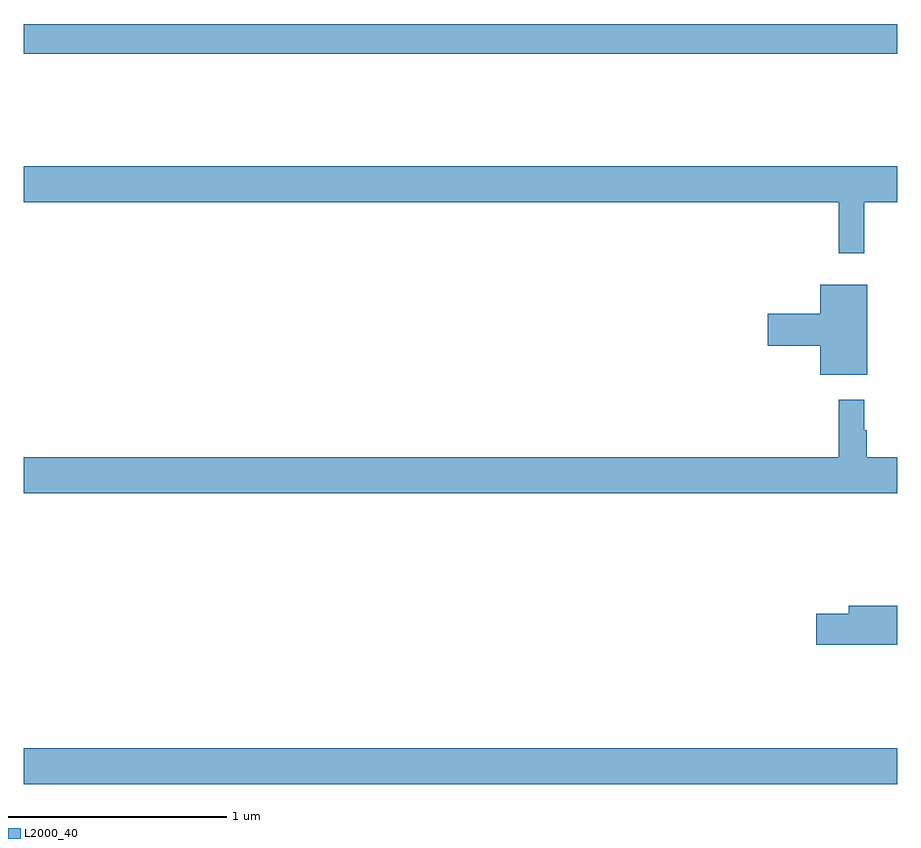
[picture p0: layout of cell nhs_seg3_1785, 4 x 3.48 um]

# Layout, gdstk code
import gdstk
lib = gdstk.Library(unit=1e-6, precision=1e-09)
def R(c, l, rs):  # rectangles x0, y0, x1, y1
    for r in rs: c.add(gdstk.rectangle(r[:2], r[2:], *l))
def P(c, l, *ps):  # polygons
    for p in ps: c.add(gdstk.Polygon(p, *l))
L2000_40 = (2000, 40)

nhs_seg3_1785 = lib.new_cell('nhs_seg3_1785')
R(nhs_seg3_1785, L2000_40, [(203,704.912,207,705.076), (203,708.256,207,708.392)])
P(nhs_seg3_1785, L2000_40, [(206.849,707.576),(207,707.576),(207,707.74),(203,707.74),(203,707.576),(206.731,707.576),(206.731,707.343),(206.849,707.343)],
  [(206.863,707.197),(206.648,707.197),(206.648,707.066),(206.406,707.066),(206.406,706.919),(206.648,706.919),(206.648,706.787),(206.863,706.787)],
  [(207,706.408),(206.86,706.408),(206.86,706.532),(206.848,706.532),(206.848,706.672),(206.731,706.672),(206.731,706.408),(203,706.408),(203,706.244),(207,706.244)],
  [(207,705.728),(206.777,705.728),(206.777,705.692),(206.628,705.692),(206.628,705.55),(207,705.55)])

lib.write_gds('nhs_seg3_1785.gds')
